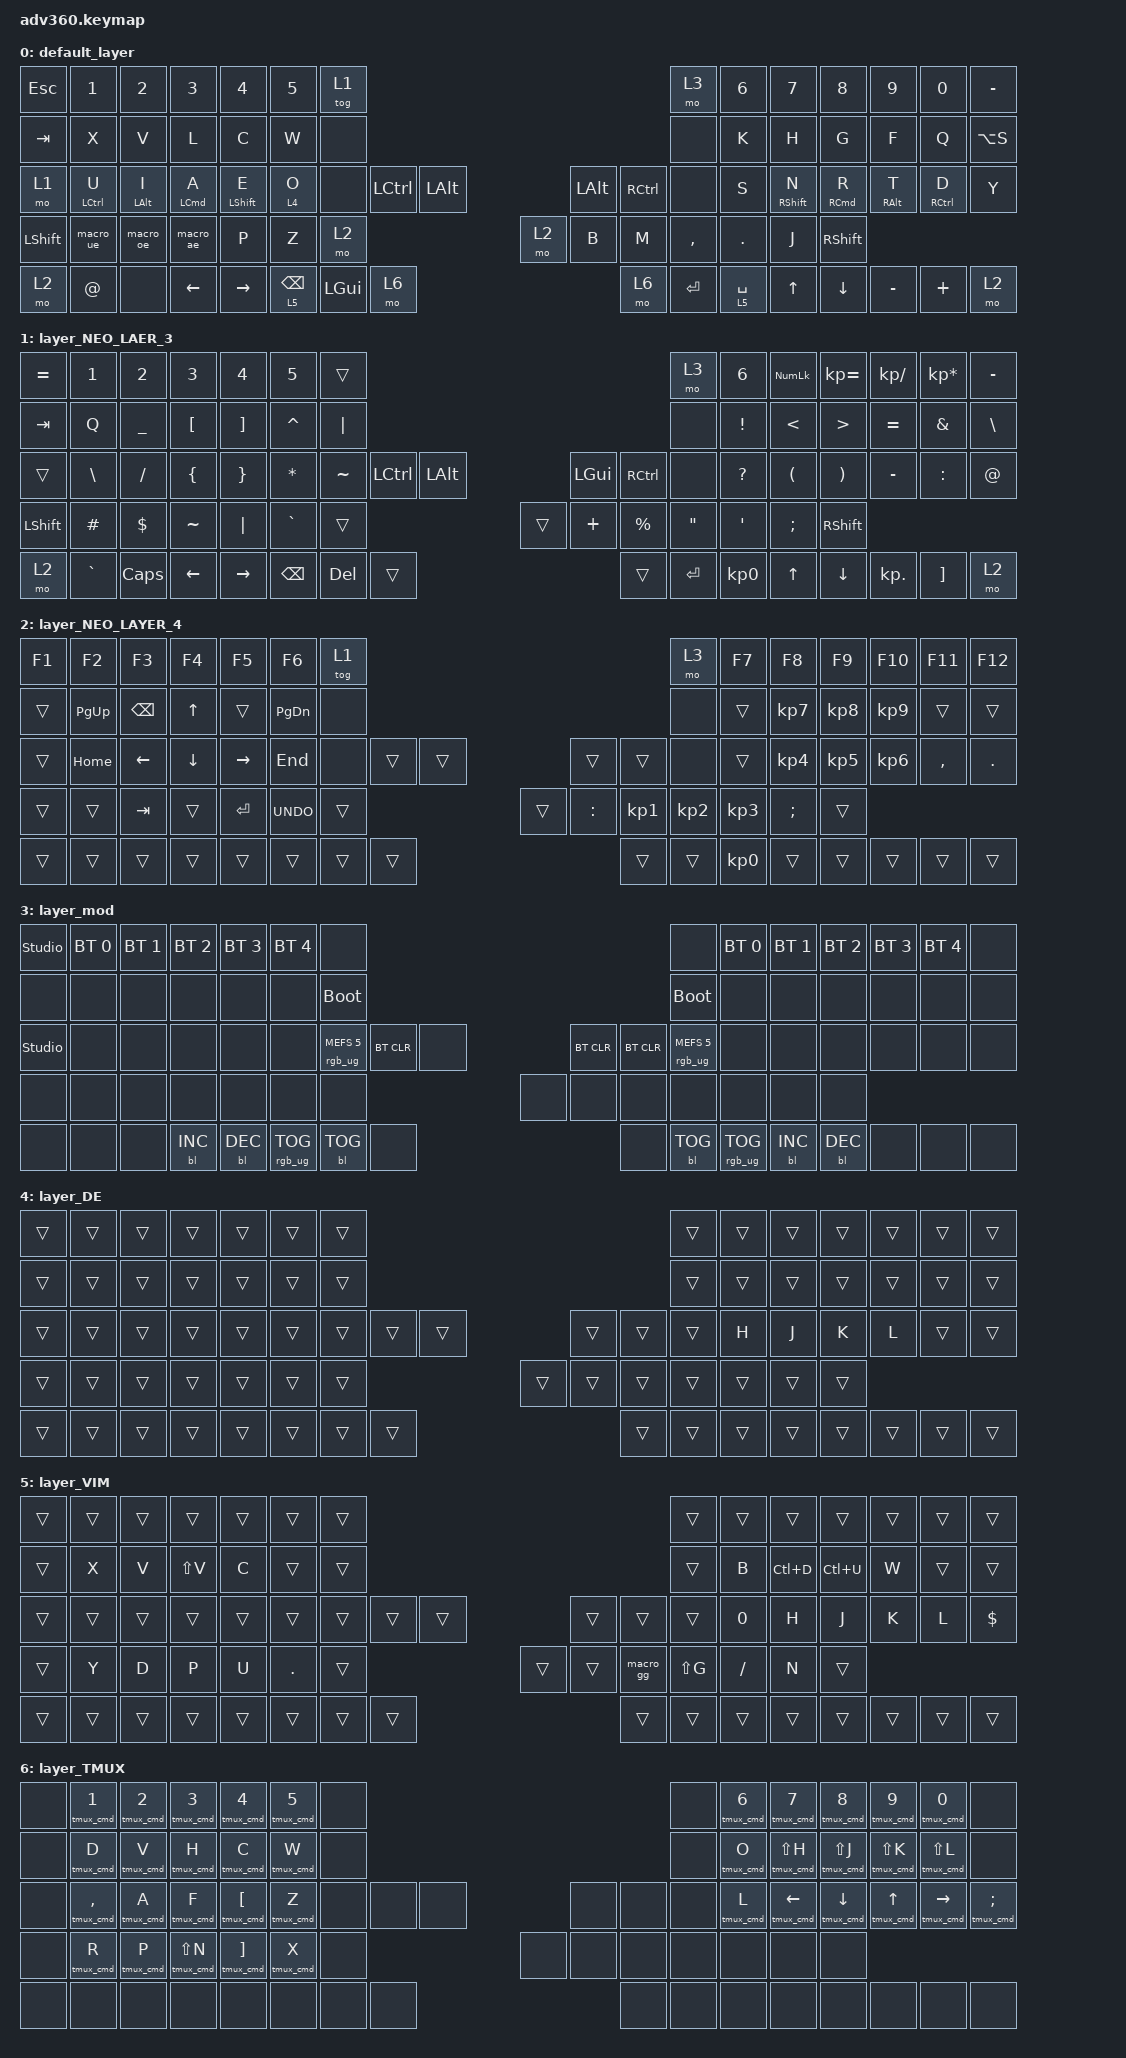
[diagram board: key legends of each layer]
#include <behaviors.dtsi>
#include <dt-bindings/zmk/keys.h>
#include <dt-bindings/zmk/bt.h>
#include <dt-bindings/zmk/rgb.h>
#include <dt-bindings/zmk/backlight.h>
#include <dt-bindings/zmk/pointing.h>

/ {
  behaviors {
    #include "macros.dtsi"
    #include "version.dtsi"

    hm: homerow_mods {
        compatible = "zmk,behavior-hold-tap";
        label = "HOMEROW_MODS";
        #binding-cells = <2>;
        tapping-term-ms = <200>;
        quick_tap_ms = <0>;
        flavor = "tap-preferred";
        bindings = <&kp>, <&kp>;
    };
  };

    combos {
        compatible = "zmk,combos";
        combo_jk_esc {
            timeout-ms = <40>;
            key-positions = <42 43>;
            bindings = <&kp ESC>;
            layers = <5>;
        };
    };

    keymap {
        compatible = "zmk,keymap";


        default_layer {
            bindings = <
   &kp ESC              &kp N1          &kp N2              &kp N3            &kp N4   &kp N5              &tog 1                                                                       &mo 3  &kp N6             &kp N7               &kp N8           &kp N9               &kp N0  &kp MINUS
   &kp TAB               &kp X           &kp V               &kp L             &kp C    &kp W               &none                                                                       &none   &kp K              &kp H                &kp G            &kp F                &kp Q  &kp LA(S)
     &mo 1  &hm LEFT_CONTROL U  &hm LEFT_ALT I  &hm LEFT_COMMAND A  &hm LEFT_SHIFT E  &lt 4 O               &none     &kp LCTRL  &kp LALT                  &kp LEFT_ALT  &kp RCTRL      &none   &kp S  &hm RIGHT_SHIFT N  &hm RIGHT_COMMAND R  &hm RIGHT_ALT T  &hm RIGHT_CONTROL D      &kp Y
 &kp LSHFT           &macro_ue       &macro_oe           &macro_ae             &kp P    &kp Z                         &mo 2      &mo 2                          &kp B              &kp M            &kp COMMA          &kp DOT                &kp J  &kp RSHFT
     &mo 2              &kp AT           &none            &kp LEFT         &kp RIGHT                    &lt 5 BSPC  &kp LEFT_GUI     &mo 6                         &mo 6  &kp ENTER  &lt 5 SPACE                     &kp UP             &kp DOWN        &kp MINUS             &kp PLUS      &mo 2
            >;
        };

        layer_NEO_LAER_3 {
            bindings = <
 &kp EQUAL     &kp N1      &kp N2            &kp N3             &kp N4     &kp N5               &trans                                                                &mo 3        &kp N6            &kp KP_NUM           &kp KP_EQUAL     &kp KP_DIVIDE  &kp KP_MULTIPLY  &kp MINUS
   &kp TAB      &kp Q   &kp UNDER  &kp LEFT_BRACKET  &kp RIGHT_BRACKET  &kp CARET             &kp PIPE                                                                &none      &kp EXCL                &kp LT                 &kp GT         &kp EQUAL    &kp AMPERSAND   &kp BSLH
    &trans   &kp BSLH    &kp FSLH    &kp LEFT_BRACE    &kp RIGHT_BRACE   &kp STAR            &kp TILDE  &kp LCTRL  &kp LALT                  &kp LGUI  &kp RCTRL      &none  &kp QUESTION  &kp LEFT_PARENTHESIS  &kp RIGHT_PARENTHESIS         &kp MINUS        &kp COLON     &kp AT
 &kp LSHFT   &kp HASH  &kp DOLLAR         &kp TILDE           &kp PIPE  &kp GRAVE                        &trans      &trans                       &kp PLUS           &kp PERCENT      &kp DOUBLE_QUOTES  &kp SINGLE_QUOTE         &kp SEMI  &kp RSHFT
     &mo 2  &kp GRAVE    &kp CAPS          &kp LEFT          &kp RIGHT                        &kp BSPC    &kp DEL    &trans                    &trans  &kp ENTER  &kp KP_N0                              &kp UP               &kp DOWN        &kp KP_DOT         &kp RBKT      &mo 2
            >;
        };

        layer_NEO_LAYER_4 {
            bindings = <
 &kp F1       &kp F2         &kp F3    &kp F4     &kp F5         &kp F6            &tog 1                                                            &mo 3     &kp F7           &kp F8           &kp F9          &kp F10    &kp F11     &kp F12
 &trans  &kp PAGE_UP  &kp BACKSPACE    &kp UP     &trans  &kp PAGE_DOWN             &none                                                            &none     &trans  &kp KP_NUMBER_7  &kp KP_NUMBER_8  &kp KP_NUMBER_9     &trans      &trans
 &trans     &kp HOME       &kp LEFT  &kp DOWN  &kp RIGHT        &kp END             &none  &trans  &trans                  &trans  &trans            &none     &trans  &kp KP_NUMBER_4        &kp KP_N5  &kp KP_NUMBER_6  &kp COMMA  &kp PERIOD
 &trans       &trans        &kp TAB    &trans  &kp ENTER     &kp K_UNDO                    &trans   &trans                         &kp COLON        &kp KP_N1  &kp KP_NUMBER_2  &kp KP_NUMBER_3   &kp SEMI      &trans
 &trans       &trans         &trans    &trans     &trans                           &trans  &trans  &trans                  &trans  &trans  &kp KP_NUMBER_0                      &trans           &trans           &trans     &trans      &trans
            >;
        };

        layer_mod {
            bindings = <
  &studio_unlock  &bt BT_SEL 0  &bt BT_SEL 1  &bt BT_SEL 2  &bt BT_SEL 3  &bt BT_SEL 4                             &none                                                                         &none  &bt BT_SEL 0  &bt BT_SEL 1  &bt BT_SEL 2  &bt BT_SEL 3  &bt BT_SEL 4   &none
  &none         &none         &none         &none         &none         &none                       &bootloader                                                                         &bootloader         &none         &none         &none         &none         &none   &none
  &studio_unlock         &none         &none         &none         &none         &none            &rgb_ug RGB_MEFS_CMD 5  &bt BT_CLR   &none                  &bt BT_CLR  &bt BT_CLR  &rgb_ug RGB_MEFS_CMD 5         &none         &none         &none         &none         &none   &none
  &none         &none         &none         &none         &none         &none                                        &none   &none                                              &none         &none         &none         &none         &none   &none
  &none         &none         &none    &bl BL_INC    &bl BL_DEC                                 &rgb_ug RGB_TOG  &bl BL_TOG   &none                       &none  &bl BL_TOG         &rgb_ug RGB_TOG                  &bl BL_INC    &bl BL_DEC         &none         &none   &none
            >;
        };

        layer_DE {
            bindings = <
 &trans  &trans  &trans  &trans  &trans  &trans            &trans                                                  &trans  &trans  &trans  &trans  &trans  &trans  &trans
 &trans  &trans  &trans  &trans  &trans  &trans            &trans                                                  &trans  &trans  &trans  &trans  &trans  &trans  &trans
 &trans  &trans  &trans  &trans  &trans  &trans            &trans  &trans  &trans                  &trans  &trans  &trans   &kp H   &kp J   &kp K   &kp L  &trans  &trans
 &trans  &trans  &trans  &trans  &trans  &trans                    &trans  &trans                  &trans  &trans  &trans  &trans  &trans  &trans
 &trans  &trans  &trans  &trans  &trans                    &trans  &trans  &trans                  &trans  &trans  &trans          &trans  &trans  &trans  &trans  &trans
            >;
        };

        layer_VIM {
            bindings = <
 &trans  &trans  &trans      &trans  &trans   &trans            &trans                                                  &trans     &trans      &trans      &trans   &trans  &trans  &trans
 &trans   &kp X   &kp V  &kp LS(V)   &kp C  &trans            &trans                                                  &trans      &kp B   &kp LC(D)   &kp LC(U)   &kp W  &trans  &trans
 &trans  &trans  &trans      &trans  &trans  &trans            &trans  &trans  &trans                  &trans  &trans  &trans  &kp N0      &kp H       &kp J       &kp K   &kp L  &kp DOLLAR
 &trans   &kp Y   &kp D       &kp P   &kp U  &kp DOT                  &trans  &trans                  &trans          &macro_gg  &kp LS(G)   &kp FSLH      &kp N  &trans
 &trans  &trans  &trans      &trans  &trans                    &trans  &trans  &trans                  &trans  &trans  &trans          &trans      &trans  &trans  &trans  &trans
            >;
        };

        layer_TMUX {
            bindings = <
 &none  &tmux_cmd N1  &tmux_cmd N2  &tmux_cmd N3  &tmux_cmd N4  &tmux_cmd N5          &none                                                                        &none  &tmux_cmd N6   &tmux_cmd N7   &tmux_cmd N8   &tmux_cmd N9   &tmux_cmd N0  &none
 &none   &tmux_cmd D   &tmux_cmd V   &tmux_cmd H   &tmux_cmd C   &tmux_cmd W          &none                                                                        &none   &tmux_cmd O  &tmux_cmd LS(H)  &tmux_cmd LS(J)  &tmux_cmd LS(K)  &tmux_cmd LS(L)  &none
 &none  &tmux_cmd COMMA  &tmux_cmd A  &tmux_cmd F  &tmux_cmd LBKT  &tmux_cmd Z        &none  &none  &none                  &none  &none                             &none   &tmux_cmd L  &tmux_cmd LEFT  &tmux_cmd DOWN    &tmux_cmd UP  &tmux_cmd RIGHT  &tmux_cmd SEMI
 &none   &tmux_cmd R   &tmux_cmd P  &tmux_cmd LS(N)  &tmux_cmd RBKT  &tmux_cmd X                     &none  &none                         &none  &none  &none  &none  &none  &none
 &none         &none         &none         &none         &none                         &none  &none  &none                  &none  &none  &none         &none         &none         &none         &none  &none
            >;
        };

    };
};
